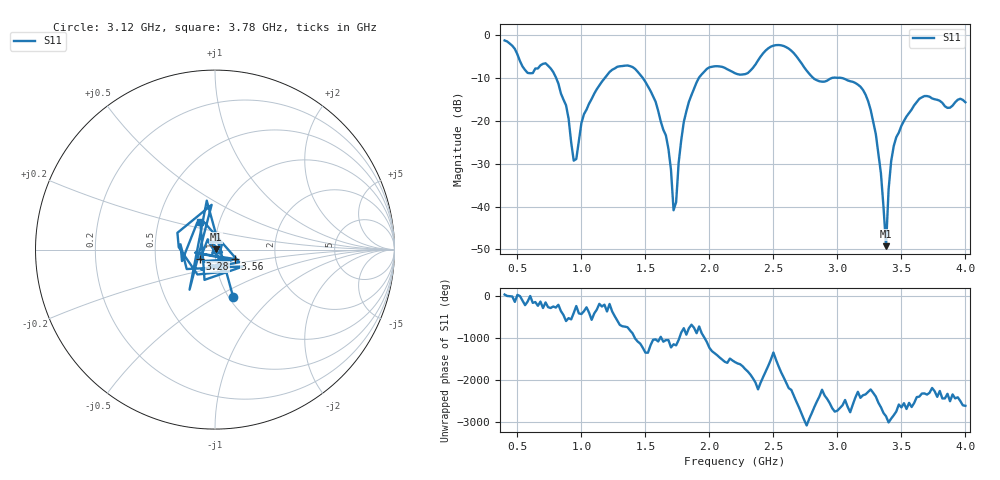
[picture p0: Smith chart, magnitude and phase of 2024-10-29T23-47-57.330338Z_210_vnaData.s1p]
!Created with skrf (http://scikit-rf.org).
# Hz S RI R 50.0
!freq ReS11 ImS11
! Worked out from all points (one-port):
!   181 points, 400 MHz to 4 GHz, reference 50 ohm
!   lowest |S11| = -49.2 dB at 3.38 GHz (marker M1), VSWR 1.01, Z = 50.3 + j0.0902 ohm
!   |S11| at or under -10 dB: 802.6 MHz to 1.183 GHz (380.8 MHz wide, 38.4 % of centre); 1.48 GHz to 1.918 GHz (437.5 MHz wide, 25.8 % of centre); 3.033 GHz to end of sweep (the widest 3 of 4)
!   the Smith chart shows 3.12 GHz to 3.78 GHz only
!   S11 on the Smith chart (normalised r, x): 3.12 GHz: 1.05, -0.61; 3.28 GHz: 0.84, -0.09; 3.56 GHz: 1.24, -0.13; 3.78 GHz: 0.81, +0.26
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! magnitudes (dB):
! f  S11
! 400 MHz  -1.2
! 580 MHz  -8.8
! 740 MHz  -7.1
! 860 MHz  -15.1
! 940 MHz  -29.3
! 1.06 GHz  -16.0
! 1.3 GHz  -7.3
! 1.58 GHz  -15.6
! 1.68 GHz  -26.6
! 1.72 GHz  -40.9
! 1.74 GHz  -39.0
! 1.76 GHz  -29.7
! 1.8 GHz  -20.2
! 1.92 GHz  -9.9
! 2.2 GHz  -8.9
! 2.5 GHz  -2.5
! 2.66 GHz  -4.2
! 2.82 GHz  -10.2
! 3.1 GHz  -10.8
! 3.12 GHz  -10.9
! 3.28 GHz  -20.2
! 3.34 GHz  -32.2
! 3.38 GHz  -49.2
! 3.4 GHz  -36.0
! 3.44 GHz  -25.9
! 3.56 GHz  -18.2
! 3.78 GHz  -15.1
! 4 GHz  -15.7
